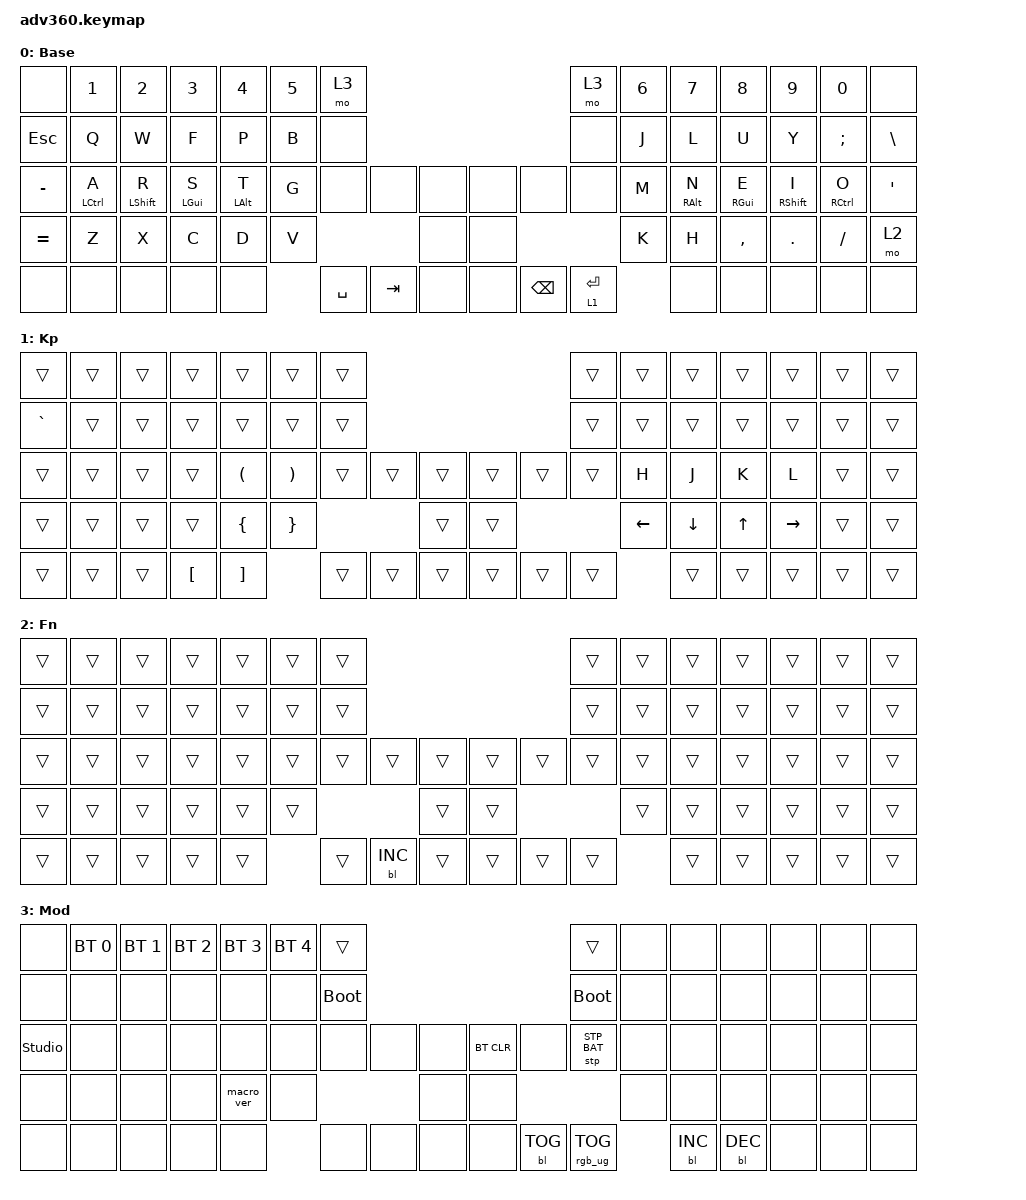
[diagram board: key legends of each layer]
#include <dt-bindings/zmk/stp.h>
#include <behaviors.dtsi>
#include <dt-bindings/zmk/backlight.h>
#include <dt-bindings/zmk/bt.h>
#include <dt-bindings/zmk/keys.h>
#include <dt-bindings/zmk/rgb.h>

/ {
    behaviors {
        #include "macros.dtsi"
      #include "version.dtsi"

        hm: homerow_mods {
            compatible = "zmk,behavior-hold-tap";
            label = "HOMEROW_MODS";
            #binding-cells = <2>;
            tapping-term-ms = <200>;
            quick_tap_ms = <175>;
            flavor = "tap-preferred";
            bindings = <&kp>, <&kp>;
        };
    };

    keymap {
        compatible = "zmk,keymap";

        default_layer {
            display-name = "Base";
            bindings = <
&none       &kp N1       &kp N2       &kp N3      &kp N4      &kp N5  &mo 3                                                &mo 3        &kp N6  &kp N7      &kp N8      &kp N9       &kp N0         &none
&kp ESCAPE  &kp Q        &kp W        &kp F       &kp P       &kp B   &none                                                &none        &kp J   &kp L       &kp U       &kp Y        &kp SEMICOLON  &kp BSLH
&kp MINUS   &hm LCTRL A  &hm LSHFT R  &hm LGUI S  &hm LALT T  &kp G   &none      &none    &none      &none  &none          &none        &kp M   &hm RALT N  &hm RGUI E  &hm RSHFT I  &hm RCTRL O    &kp SQT
&kp EQUAL   &kp Z        &kp X        &kp C       &kp D       &kp V                       &none      &none                              &kp K   &kp H       &kp COMMA   &kp DOT      &kp FSLH       &mo 2
&none       &none        &none        &none       &none               &kp SPACE  &kp TAB  &none      &none  &kp BACKSPACE  &lt 1 ENTER          &none       &none       &none        &none          &none
            >;
        };

        keypad {
            display-name = "Kp";
            bindings = <
&trans     &trans  &trans  &trans            &trans                &trans                 &trans                                      &trans  &trans          &trans          &trans        &trans           &trans  &trans
&kp GRAVE  &trans  &trans  &trans            &trans                &trans                 &trans                                      &trans  &trans          &trans          &trans        &trans           &trans  &trans
&trans     &trans  &trans  &trans            &kp LEFT_PARENTHESIS  &kp RIGHT_PARENTHESIS  &trans  &trans  &trans      &trans  &trans  &trans  &kp H           &kp J           &kp K         &kp L            &trans  &trans
&trans     &trans  &trans  &trans            &kp LEFT_BRACE        &kp RIGHT_BRACE                        &trans      &trans                  &kp LEFT_ARROW  &kp DOWN_ARROW  &kp UP_ARROW  &kp RIGHT_ARROW  &trans  &trans
&trans     &trans  &trans  &kp LEFT_BRACKET  &kp RIGHT_BRACKET                            &trans  &trans  &trans      &trans  &trans  &trans                  &trans          &trans        &trans           &trans  &trans
            >;
        };

        fn {
            display-name = "Fn";
            bindings = <
&trans  &trans  &trans  &trans  &trans  &trans  &trans                                          &trans  &trans  &trans  &trans  &trans  &trans  &trans
&trans  &trans  &trans  &trans  &trans  &trans  &trans                                          &trans  &trans  &trans  &trans  &trans  &trans  &trans
&trans  &trans  &trans  &trans  &trans  &trans  &trans  &trans      &trans      &trans  &trans  &trans  &trans  &trans  &trans  &trans  &trans  &trans
&trans  &trans  &trans  &trans  &trans  &trans                      &trans      &trans                  &trans  &trans  &trans  &trans  &trans  &trans
&trans  &trans  &trans  &trans  &trans          &trans  &bl BL_INC  &trans      &trans  &trans  &trans          &trans  &trans  &trans  &trans  &trans
            >;
        };

        mod {
            display-name = "Mod";
            bindings = <
&none           &bt BT_SEL 0  &bt BT_SEL 1  &bt BT_SEL 2  &bt BT_SEL 3  &bt BT_SEL 4  &trans                                                 &trans           &none  &none       &none       &none  &none  &none
&none           &none         &none         &none         &none         &none         &bootloader                                            &bootloader      &none  &none       &none       &none  &none  &none
&studio_unlock  &none         &none         &none         &none         &none         &none        &none  &none      &bt BT_CLR  &none       &stp STP_BAT     &none  &none       &none       &none  &none  &none
&none           &none         &none         &none         &macro_ver    &none                             &none      &none                                    &none  &none       &none       &none  &none  &none
&none           &none         &none         &none         &none                       &none        &none  &none      &none       &bl BL_TOG  &rgb_ug RGB_TOG         &bl BL_INC  &bl BL_DEC  &none  &none  &none
            >;
        };
    };
};
